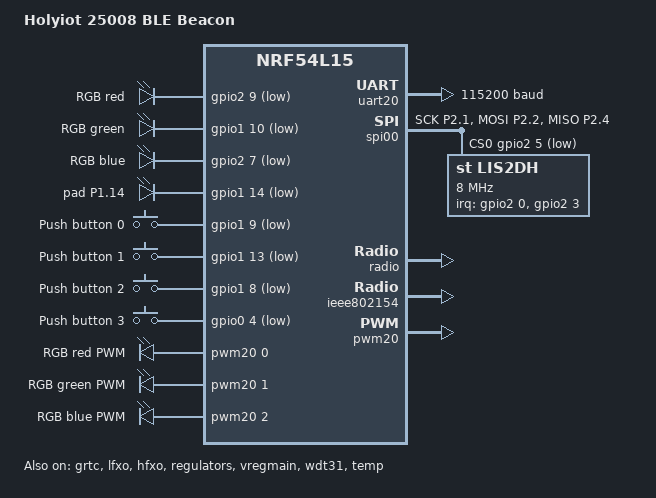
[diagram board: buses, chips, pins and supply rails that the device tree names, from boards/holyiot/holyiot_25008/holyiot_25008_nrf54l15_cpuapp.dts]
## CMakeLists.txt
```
#
# Copyright (c) 2021 Nordic Semiconductor ASA
#
# SPDX-License-Identifier: LicenseRef-Nordic-5-Clause
#

cmake_minimum_required(VERSION 3.20.0)

find_package(Zephyr HINTS $ENV{ZEPHYR_BASE})

project(matter-light-switch)

# Enable GNU STD support and initialize the Matter Data Model.
include(${ZEPHYR_CONNECTEDHOMEIP_MODULE_DIR}/config/nrfconnect/app/enable-gnu-std.cmake)
include(${ZEPHYR_CONNECTEDHOMEIP_MODULE_DIR}/src/app/chip_data_model.cmake)

# NORDIC SDK APP START

# Include all source files that are located in the Matter common directory.
include(${ZEPHYR_NRF_MODULE_DIR}/samples/matter/common/cmake/source_common.cmake)

target_include_directories(app PRIVATE
    src
    ${CONFIG_NCS_SAMPLE_MATTER_ZAP_FILES_PATH}

)

target_compile_options(app PRIVATE -Wno-deprecated-declarations)

target_sources(app PRIVATE
    src/app_task.cpp
    src/main.cpp
    # SmartHome: light_ctrl.cpp replaces both light_switch.cpp AND
    # binding_handler.cpp from the sample (it registers its own handlers on
    # BindingManager).
    src/light_ctrl.cpp
    src/automation.cpp
    src/status_led.cpp
    src/lock_cluster.cpp
    src/lock_state.cpp
    src/battery.cpp
    src/switch_cluster.cpp
    src/fault.cpp
)

chip_configure_data_model(app
    INCLUDE_SERVER
    BYPASS_IDL
    GEN_DIR ${CONFIG_NCS_SAMPLE_MATTER_ZAP_FILES_PATH}/zap-generated
    ZAP_FILE ${CMAKE_CURRENT_SOURCE_DIR}/${CONFIG_NCS_SAMPLE_MATTER_ZAP_FILES_PATH}/light_switch.zap
)
# NORDIC SDK APP END
```

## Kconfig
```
#
# Copyright (c) 2022 Nordic Semiconductor
#
# SPDX-License-Identifier: LicenseRef-Nordic-5-Clause
#
mainmenu "Matter nRF Connect Light Switch Example Application"

config STATE_LEDS
	bool "Use LEDs to indicate the device state"
	default y
	help
	  Use LEDs to render the current state of the device such as the progress of commissioning of
	  the device into a network or the factory reset initiation. Note that setting this option to
	  'n' does not disable the LED indicating the state of the simulated bolt.

# Sample configuration used for Thread networking
if NET_L2_OPENTHREAD

choice OPENTHREAD_NORDIC_LIBRARY_CONFIGURATION
	default OPENTHREAD_NORDIC_LIBRARY_MTD
endchoice

choice OPENTHREAD_DEVICE_TYPE
	default OPENTHREAD_MTD
endchoice

config CHIP_ENABLE_ICD_SUPPORT
	default y

# Reduce Thread TX output power to 0 dBm for SED device
config OPENTHREAD_DEFAULT_TX_POWER
	int
	default 0

endif # NET_L2_OPENTHREAD

if CHIP_WIFI

config NRF_WIFI_LOW_POWER
	default y

endif # CHIP_WIFI

# Enable Read Client functionality for all build configurations.
config CHIP_ENABLE_READ_CLIENT
	default y

# ---------------- SmartHome ----------------

config SMARTHOME_LOG_LEVEL
	int "Log level for the application modules"
	default 3

config SMARTHOME_SNTP_SERVER
	string "SNTP server"
	depends on SMARTHOME_SNTP
	default "pool.ntp.org"
	help
	  The name only resolves if the Border Router provides DNS64/NAT64.
	  Otherwise use an IPv6 literal.

config SMARTHOME_SNTP_TIMEOUT_MS
	int "SNTP timeout (ms)"
	depends on SMARTHOME_SNTP
	default 4000

config SMARTHOME_SNTP_RESYNC_HOURS
	int "SNTP resync interval (hours)"
	depends on SMARTHOME_SNTP
	default 6

config SMARTHOME_STARTUP_ONOFF
	int "StartUpOnOff written to the bulb"
	default 0
	range 0 255
	help
	  0 = stays OFF after a power outage (what is set here)
	  1 = turns on after a power outage
	  2 = toggle relative to the previous state
	  255 = null, the bulb returns to its state from before the outage

	  Apple Home does not expose this attribute in its interface. The
	  firmware writes it into the bulb and reasserts it daily, so the setting
	  holds regardless of what the ecosystem does.

config SMARTHOME_STARTUP_LEVEL
	int "StartUpCurrentLevel written to the bulb"
	default 255
	# Irrelevant while STARTUP_ONOFF=0 (the bulb stays off), but still
	# correct if you ever change it to 1.
	range 0 255
	help
	  0 = MinLevel, 1..254 = that value,
	  255 = return to the brightness from before the outage (recommended)

config SMARTHOME_STARTUP_REFRESH_HOURS
	int "How often the startup state is reasserted in the bulb (hours)"
	default 24

source "${ZEPHYR_CONNECTEDHOMEIP_MODULE_DIR}/config/nrfconnect/chip-module/Kconfig.features"
source "${ZEPHYR_CONNECTEDHOMEIP_MODULE_DIR}/config/nrfconnect/chip-module/Kconfig.defaults"
source "${ZEPHYR_NRF_MODULE_DIR}/samples/matter/common/src/Kconfig"
source "Kconfig.zephyr"

menu "RGB status LED"

config SMARTHOME_LED_TRIM_R
	int "Red channel attenuation (0-255, 255 = none)"
	range 0 255
	default 255
	help
	  Color balance for the RGB LED. The three dies in the package are not
	  equally efficient at the same current, and the resistors on the module
	  were chosen so the LED is visible, not to produce neutral white.
	  Without trim, what you ask for as #ffa726 can come out yellow or
	  reddish.

	  Calibrated by eye: hold the module next to the screen with Identify
	  running from the panel and pull down whichever channel dominates. Only
	  two of the three should ever be touched - the third stays at 255,
	  otherwise you are just throwing brightness away.

config SMARTHOME_ACCEL_GESTURES
	bool "Accelerometer gestures (tap / double tap)"
	default n
	help
	  The gesture code. Off by default: we do not use it, and an
	  accelerometer listening for taps has to stay powered up, which on
	  battery costs far more than it is worth.

	  With this off, the sensor is started by the driver at initialization
	  and explicitly powered down immediately afterwards.

config SMARTHOME_LED_CHANNEL_TEST
	bool "LED channel identification test"
	default n
	help
	  Lights ONE PWM channel at a time, two seconds each, forever: channel 0,
	  then 1, then 2. You look at the board and note which color you see at
	  each step.

	  It is how you find the REAL pin-to-color mapping when what you see does
	  not match the documentation. No guessing and no reflashing three times -
	  one run gives all three answers.

	  Do NOT leave it on in production.

config SMARTHOME_LED_TRIM_G
	int "Green channel attenuation (0-255)"
	range 0 255
	default 255

config SMARTHOME_LED_TRIM_B
	int "Blue channel attenuation (0-255)"
	range 0 255
	default 255

endmenu
```

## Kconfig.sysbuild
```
#
# Copyright (c) 2023 Nordic Semiconductor ASA
#
# SPDX-License-Identifier: LicenseRef-Nordic-5-Clause
#

config WIFI_NRF70
	default y if BOARD_NRF7002DK

#### Radio core selection
config NRF_DEFAULT_IPC_RADIO
	default y

# Enable IEEE802.15.4 serialization to network core
# This config automatically pulls in the `overlay-802154.conf` in the ipc_radio image
config NETCORE_IPC_RADIO_IEEE802154
	default y if SOC_SERIES_NRF53X && !WIFI_NRF70

# Enable Bluetooth serialization to network core
# This config automatically pulls in the `overlay-bt_hci_ipc.conf` in the ipc_radio image
config NETCORE_IPC_RADIO_BT_HCI_IPC
	default y if SOC_SERIES_NRF53X

#### Bootloader
# MCUboot is required for OTA (two image slots). On Holyiot both slots live in
# internal RRAM - the modules have no external flash.
choice BOOTLOADER
	default BOOTLOADER_MCUBOOT if !BOARD_NRF21540DK
endchoice

if BOOTLOADER_MCUBOOT

#### DFU multi-image support
config DFU_MULTI_IMAGE_PACKAGE_BUILD
	default y

config DFU_MULTI_IMAGE_PACKAGE_APP
	default y

# Secondary slot in external flash - only on boards that actually have one.
# The Holyiot module does not: both slots live in internal RRAM.
config PM_EXTERNAL_FLASH_MCUBOOT_SECONDARY
	default y if !BOARD_HOLYIOT_25008

#### DFU network core configuration
if SOC_SERIES_NRF53X

config MCUBOOT_UPDATEABLE_IMAGES
	default 2

choice MCUBOOT_MODE
	default MCUBOOT_MODE_OVERWRITE_ONLY
endchoice

choice BOOT_SIGNATURE_TYPE
	default BOOT_SIGNATURE_TYPE_RSA
endchoice

config SECURE_BOOT_NETCORE
	default y

config NETCORE_APP_UPDATE
	default y

config DFU_MULTI_IMAGE_PACKAGE_NET
	default y

endif # SOC_SERIES_NRF53X

if BOARD_NRF54L15DK_NRF54L15_CPUAPP_NS

# Disable checking the external drivers for NS build.
config PM_OVERRIDE_EXTERNAL_DRIVER_CHECK
	default y

# override the mcuboot pad size, because it is not set globally for NS build.
config PM_MCUBOOT_PAD
	default 0x800

endif # BOARD_NRF54L15DK_NRF54L15_CPUAPP_NS

endif # BOOTLOADER_MCUBOOT

#### Matter OTA
# SB_CONFIG_MATTER_OTA is FORCED onto the application image
# (nrf/sysbuild/CMakeLists.txt: set_config_bool CONFIG_CHIP_OTA_REQUESTOR), so
# CONFIG_CHIP_OTA_REQUESTOR in boards/*.conf is ignored - it is controlled from
# here. The default is already y; we leave it that way on every board.

#### Enable generating factory data
# Stays off on Holyiot: without a factory_data partition in the partition
# manager, the generator script gets an empty --offset and the build fails. The
# device then uses the test credentials compiled into the firmware.
config MATTER_FACTORY_DATA_GENERATE
	default y if !BOARD_NRF21540DK && !BOARD_HOLYIOT_25008

source "share/sysbuild/Kconfig"
```

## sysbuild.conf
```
#
# Copyright (c) 2024 Nordic Semiconductor
#
# SPDX-License-Identifier: LicenseRef-Nordic-5-Clause
#

SB_CONFIG_MATTER=y

# The MCUboot signing key is passed from scripts/build.sh as an ABSOLUTE path
# (-DSB_CONFIG_BOOT_SIGNATURE_KEY_FILE). A relative path here would resolve
# against bootloader/mcuboot, not against the application.
```

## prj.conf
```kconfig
#
# Copyright (c) 2021 Nordic Semiconductor ASA
#
# SPDX-License-Identifier: LicenseRef-Nordic-5-Clause
#

# Enable CHIP
CONFIG_CHIP=y
CONFIG_CHIP_PROJECT_CONFIG="src/chip_project_config.h"
# 32772 == 0x8004 (example light-switch-app)
CONFIG_CHIP_DEVICE_PRODUCT_ID=32772
CONFIG_STD_CPP17=y

# Enable Matter pairing automatically on application start.
CONFIG_CHIP_ENABLE_PAIRING_AUTOSTART=y

# Enable Matter extended announcement and increase duration to 1 hour.
CONFIG_CHIP_BLE_EXT_ADVERTISING=y
CONFIG_CHIP_BLE_ADVERTISING_DURATION=60

# Add support for LEDs and buttons on Nordic development kits
CONFIG_DK_LIBRARY=y

# We drive the RGB LED ourselves, with PWM (src/status_led.cpp).
CONFIG_PWM=y

# The ADC, for reading the coin cell through the chip's own AVDD input. The
# devicetree node alone is not enough - without this the driver is never built
# and the link fails on adc_gain_invert. See the &adc block in boards/*.overlay.

# The common LED module from NCS is off: it drives the LEDs as GPIO on/off for
# network state, and would fight our PWM over the same pins. We signal state
# through color, not through which-of-four-LEDs.
CONFIG_NCS_SAMPLE_MATTER_LEDS=n

# Bluetooth Low Energy configuration
CONFIG_BT_DEVICE_NAME="MatterSwitch"

# Suspend devices when the CPU goes into sleep
CONFIG_PM_DEVICE=y

# Other settings
CONFIG_THREAD_NAME=y
CONFIG_MPU_STACK_GUARD=y
# Reboot instead of freezing. The module has no console in this build
# (CONFIG_SERIAL is off so two OTA slots fit), and Zephyr's default handler
# masks interrupts and drops into for(;;) - i.e. the board dies silently, the
# LED frozen on the last color written, unresponsive to everything until you
# pull the battery. That is exactly how the dangling reference in
# light_ctrl.cpp presented. A silent fault on a device with no console is the
# worst possible way to fail.
#
# The reset is src/fault.cpp's now: it writes down the reason and the address
# first, for the next boot to publish. NCS's handler (this option) would clash
# with it, so it is off, and REBOOT is asked for directly.
CONFIG_RESET_ON_FATAL_ERROR=n
CONFIG_REBOOT=y
CONFIG_CHIP_LIB_SHELL=n
CONFIG_NCS_SAMPLE_MATTER_TEST_SHELL=n

# Reduce application size
CONFIG_USE_SEGGER_RTT=n

# Enable Factory Data feature
CONFIG_CHIP_FACTORY_DATA=y
CONFIG_CHIP_FACTORY_DATA_BUILD=y

# ---------------- SmartHome ----------------
# The name that appears while commissioning over Bluetooth. Overrides the
# sample's value above.
#
# FOURTEEN CHARACTERS, maximum. hci_core.c asserts
# DEVICE_NAME_LEN < CONFIG_BT_DEVICE_NAME_MAX, and that ceiling is 15 here - so
# a 15-character name fails the build, deep inside Zephyr's Bluetooth host,
# with `static assertion failed: ""` and no mention of this line.
CONFIG_BT_DEVICE_NAME="SmartSwitch"

# Accelerometer: the concrete driver is enabled in boards/<board>.conf, because
# CONFIG_LIS2DH depends on DT_HAS_ST_LIS2DH_ENABLED. On nrf54l15dk there is no
# sensor, so the gestures compile out (see HAS_ACCEL in automation.cpp).
CONFIG_SENSOR=y

# Time synchronization. Off by default: on battery it costs wakeups. Enable with
# -DCONFIG_SMARTHOME_SNTP=y if the Border Router has internet access.
# CONFIG_SMARTHOME_SNTP=y

# How many switches a lock can actually reach in one press.
#
# The binding table holds 10 entries, so a lock may be pointed at nine other
# switches - and until now the device could hold four CASE connections and
# negotiate two at a time. That would be a soft limit if the SDK degraded, and
# it does not: BindingManager's notification loop is
#
#     error = EstablishConnection(...);
#     SuccessOrExit(error);
#
# so the FIRST target that does not fit ends the loop, and every binding after
# it is silently skipped. A lock over nine switches locked the first few and
# left the rest untouched, with no error anywhere to say so.
#
# Ten, to match the binding table: a lock cannot be pointed at more than the
# table holds, so nothing is left that the device could be asked to reach and
# could not. Four negotiations at a time, because they are the expensive part
# and they only need to keep the pipeline full, not to run all at once.
CONFIG_CHIP_MAX_ACTIVE_DEVICES=10
CONFIG_CHIP_MAX_ACTIVE_CASE_CLIENTS=4
```

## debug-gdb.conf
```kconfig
# Variant for debugging with gdb.
#
# The production build has LTO on so the image fits into the 710K slot together
# with a second slot for OTA. The side effect: LTO dissolves function
# boundaries, and gdb can no longer put a breakpoint on AppTask::Init or
# LightCtrl::Init - "info functions" does not find them at all.
#
# Usage:
#     ./scripts/build.sh holyiot_25008 -DEXTRA_CONF_FILE=debug-gdb.conf
# Do NOT put this on a production board: the image grows and busts the OTA
# budget.
CONFIG_LTO=n
CONFIG_DEBUG_THREAD_INFO=y
```

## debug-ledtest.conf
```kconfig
# LED channel identification. See CONFIG_SMARTHOME_LED_CHANNEL_TEST in Kconfig.
CONFIG_SMARTHOME_LED_CHANNEL_TEST=y
```

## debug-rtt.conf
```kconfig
# Debug console over SWD, through RTT.
#
# The module has no USB, and UART would need two extra wires on 1.5 mm pads.
# RTT runs over the SWD link that already exists for flashing: zero wires.
#
# NOT part of the production build. Two things to know before using it, both
# learned by bricking a switch with it:
#
# 1. THIS PROFILE DOES NOT CURRENTLY FIT, AND WE DO NOT KNOW THE EXACT CEILING.
#    Measured on holyiot_25008, same signing key throughout:
#
#        642076 B  no RTT              boots
#        714880 B  RTT + battery       MCUboot rejects it
#        720048 B  RTT, no battery     MCUboot rejects it
#        722288 B  RTT + battery       MCUboot rejects it
#
#    Rejected means `FIH_PANIC` in main.c:611 - no bootable image - with the PC
#    frozen around 0x5230 and a switch that does nothing until it is reflashed.
#    imgtool passes all of these: it checks `image + trailer <= slot` against a
#    fixed 6224-byte trailer. MCUboot's own swap status area is not fixed - it
#    grows with the sector count, and this slot is 177 sectors - which is the
#    likely reason, though it has not been proven.
#
#    So the real ceiling is somewhere between 642 KB and 714 KB. Until somebody
#    measures it, treat anything much above 642 KB as unproven, and check what
#    you built before flashing it:
#       ls -l build-*/firmware/zephyr/zephyr.signed.bin
#
# 2. USE A SEPARATE BUILD DIRECTORY. EXTRA_CONF_FILE lands in the CMake cache
#    and every later build in that directory inherits it silently - including
#    the one you build to undo it. An image that should have been 87% came out
#    at 98.7% and would not boot either. `rm -rf` the build directory, or use
#    -d for a directory of its own.
#
#     ./scripts/build.sh holyiot_25008 -DEXTRA_CONF_FILE=debug-rtt.conf
# and read with, giving the address from the ELF because the default search
# range does not find it on this part:
#     nm build-*/firmware/zephyr/zephyr.elf | grep _SEGGER_RTT
#     pyocd rtt -t nrf54l -a 0x20000040 -s 0x100
CONFIG_USE_SEGGER_RTT=y
CONFIG_RTT_CONSOLE=y
CONFIG_CONSOLE=y
CONFIG_SEGGER_RTT_BUFFER_SIZE_UP=4096

CONFIG_LOG=y
CONFIG_LOG_BACKEND_RTT=y
# Minimal, not deferred: deferred logging carries a whole processing thread and
# its buffers, and this profile has to fit in what the application leaves of a
# 710 KB slot. Minimal goes straight out through printk, which is all a crash
# investigation needs.
CONFIG_LOG_MODE_MINIMAL=y

# What we care about is application and Matter stack startup, not all the noise.
CONFIG_SMARTHOME_LOG_LEVEL=4
CONFIG_MATTER_LOG_LEVEL_INF=y
CONFIG_CHIP_APP_LOG_LEVEL=4
```

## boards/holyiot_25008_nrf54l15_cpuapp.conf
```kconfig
# Configuration specific to the Holyiot 25008 module (nRF54L15 + LIS2DH).
#
# The accelerometer driver is enabled here, not in prj.conf: CONFIG_LIS2DH
# depends on DT_HAS_ST_LIS2DH_ENABLED, and the node exists only on the boards
# that actually carry the sensor. See HAS_ACCEL in src/automation.cpp.

# SPI stays on so the CS lines are held inactive; the sensor is powered down
# from the overlay. See the comment there.
CONFIG_SPI=y
# CONFIG_LIS2DH=y
# CONFIG_LIS2DH_TRIGGER_GLOBAL_THREAD=y

# Multirole is the only role SoftDevice supports on nRF54L.
CONFIG_BT_LL_SOFTDEVICE_MULTIROLE=y

# On nRF54L15 settings go to ZMS, not NVS.
CONFIG_ZMS_LOOKUP_CACHE=y
CONFIG_ZMS_LOOKUP_CACHE_SIZE=512
CONFIG_ZMS_LOOKUP_CACHE_FOR_SETTINGS=y
CONFIG_NVS=n

CONFIG_POWEROFF=y

# Factory data off on the Holyiot module (MCUboot is now ON, for OTA).
#
# The module has no pm_static with a factory_data partition, and without OTA
# there is no point in a bootloader that eats 64K of RRAM. The reference project
# uAmpHome/micro_matter_button does the same.
#
# CONSEQUENCE: the device uses the test Matter credentials compiled into the
# firmware (VID 0xFFF1 / PID 0x8004), not per-unit ones. Acceptable for a DIY
# device in your own fabric, but NOT for distribution.
CONFIG_CHIP_FACTORY_DATA=n
CONFIG_CHIP_FACTORY_DATA_BUILD=n

# ---------------- OTA ----------------
# Two image slots have to fit into 1524 KB of RRAM. The image with logging is
# 766 KB and does NOT fit; with the optimizations below it drops to ~610 KB.
#
# Logging can go without losing anything: the module has no console in
# devicetree (neither UART nor RTT enabled), so the logs went nowhere anyway.
# For debugging use the nrf54l15dk, which does have a console.
CONFIG_LTO=y
CONFIG_ISR_TABLES_LOCAL_DECLARATION=y
CONFIG_LOG=n
CONFIG_PRINTK=n
CONFIG_PRINTK_SYNC=n
# NCS replaces BOOT_BANNER with NCS_BOOT_BANNER, and that is the one doing
# 'select PRINTK'. Set on the wrong symbol, printk stayed compiled in.
CONFIG_BOOT_BANNER=n
CONFIG_NCS_BOOT_BANNER=n
CONFIG_ASSERT=n

# ---------------- Idle power ----------------
# The module is a Sleepy End Device: it polls its Thread parent periodically,
# and that poll IS the keep-alive that holds the attachment. It happens whether
# or not you press the button, so the device never detaches "from inactivity".
#
# The Matter default for SIT is 1000 ms - chosen conservatively for devices that
# have to RECEIVE commands quickly (locks, valves). For a switch, which almost
# only sends, that is waste: ~2.4 million wakeups a month.
#
# 15000 is the maximum the spec allows for the SIT class (9.16.1.5; see also
# CHIP_ICD_SIT_SLOW_POLL_LIMIT, whose range is 0..15000). Fifteen times fewer
# wakeups, and anything inbound - AnnounceOTAProvider included - is delayed by
# at most 15 s.
#
# It stays below OPENTHREAD_MLE_CHILD_TIMEOUT (240 s), so OpenThread does not
# clamp it: the effective poll is min(requested, child_timeout - margin).
#
# For even lower power, move to the LIT class (snippets/lit_icd, 5 min poll) -
# but then the child timeout has to be raised above 300 s as well.
CONFIG_CHIP_ICD_SLOW_POLL_INTERVAL=3000

# The console on UART20 (P1.04/P1.05) exists in devicetree, but we keep it OFF.
# With it and logging enabled, the image no longer fits into two OTA slots. For
# a debug build, set these to y and run two wires out.
CONFIG_SERIAL=n
CONFIG_CONSOLE=n
CONFIG_UART_CONSOLE=n
```

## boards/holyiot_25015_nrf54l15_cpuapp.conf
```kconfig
# Configuration specific to the Holyiot 25015 module (nRF54L15 + LIS2DH + SHT40).
#
# The accelerometer driver is enabled here, not in prj.conf: CONFIG_LIS2DH
# depends on DT_HAS_ST_LIS2DH_ENABLED, and the node exists only on the boards
# that actually carry the sensor. See HAS_ACCEL in src/automation.cpp.

# SPI stays on so the CS lines are held inactive; the sensor is powered down
# from the overlay. See the comment there.
CONFIG_SPI=y
# CONFIG_LIS2DH=y
# CONFIG_LIS2DH_TRIGGER_GLOBAL_THREAD=y

# Multirole is the only role SoftDevice supports on nRF54L.
CONFIG_BT_LL_SOFTDEVICE_MULTIROLE=y

# On nRF54L15 settings go to ZMS, not NVS.
CONFIG_ZMS_LOOKUP_CACHE=y
CONFIG_ZMS_LOOKUP_CACHE_SIZE=512
CONFIG_ZMS_LOOKUP_CACHE_FOR_SETTINGS=y
CONFIG_NVS=n

CONFIG_POWEROFF=y

# Factory data off on the Holyiot module (MCUboot is now ON, for OTA).
#
# The module has no pm_static with a factory_data partition, and without OTA
# there is no point in a bootloader that eats 64K of RRAM. The reference project
# uAmpHome/micro_matter_button does the same.
#
# CONSEQUENCE: the device uses the test Matter credentials compiled into the
# firmware (VID 0xFFF1 / PID 0x8004), not per-unit ones. Acceptable for a DIY
# device in your own fabric, but NOT for distribution.
CONFIG_CHIP_FACTORY_DATA=n
CONFIG_CHIP_FACTORY_DATA_BUILD=n

# ---------------- OTA ----------------
# Two image slots have to fit into 1524 KB of RRAM. The image with logging is
# 766 KB and does NOT fit; with the optimizations below it drops to ~610 KB.
#
# Logging can go without losing anything: the module has no console in
# devicetree (neither UART nor RTT enabled), so the logs went nowhere anyway.
# For debugging use the nrf54l15dk, which does have a console.
CONFIG_LTO=y
CONFIG_ISR_TABLES_LOCAL_DECLARATION=y
CONFIG_LOG=n
CONFIG_PRINTK=n
CONFIG_PRINTK_SYNC=n
# NCS replaces BOOT_BANNER with NCS_BOOT_BANNER, and that is the one doing
# 'select PRINTK'. Set on the wrong symbol, printk stayed compiled in.
CONFIG_BOOT_BANNER=n
CONFIG_NCS_BOOT_BANNER=n
CONFIG_ASSERT=n

# ---------------- Idle power ----------------
# The module is a Sleepy End Device: it polls its Thread parent periodically,
# and that poll IS the keep-alive that holds the attachment. It happens whether
# or not you press the button, so the device never detaches "from inactivity".
#
# The Matter default for SIT is 1000 ms - chosen conservatively for devices that
# have to RECEIVE commands quickly (locks, valves). For a switch, which almost
# only sends, that is waste: ~2.4 million wakeups a month.
#
# 15000 is the maximum the spec allows for the SIT class (9.16.1.5; see also
# CHIP_ICD_SIT_SLOW_POLL_LIMIT, whose range is 0..15000). Fifteen times fewer
# wakeups, and anything inbound - AnnounceOTAProvider included - is delayed by
# at most 15 s.
#
# It stays below OPENTHREAD_MLE_CHILD_TIMEOUT (240 s), so OpenThread does not
# clamp it: the effective poll is min(requested, child_timeout - margin).
#
# For even lower power, move to the LIT class (snippets/lit_icd, 5 min poll) -
# but then the child timeout has to be raised above 300 s as well.
CONFIG_CHIP_ICD_SLOW_POLL_INTERVAL=15000

# The SHT40 temperature/humidity sensor is enabled by the board's _defconfig
# (inherited from the reference repo, which reported it to the smart home). We
# do not use it, so we turn it off - same reasoning as for the accelerometer.
CONFIG_SHT4X=n

# The console on UART20 (P1.04/P1.05) exists in devicetree, but we keep it OFF.
# With it and logging enabled, the image no longer fits into two OTA slots. For
# a debug build, set these to y and run two wires out.
CONFIG_SERIAL=n
CONFIG_CONSOLE=n
CONFIG_UART_CONSOLE=n
```

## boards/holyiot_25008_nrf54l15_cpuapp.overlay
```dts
/*
 * We reclaim the memory reserved by default for the FLPR coprocessor.
 *
 * nrf54l15.dtsi splits the SoC: 188KB SRAM + 1428KB RRAM for cpuapp, the rest
 * (68KB SRAM + 96KB RRAM) for cpuflpr. We run nothing on the FLPR, so we take
 * all of it. The sample's own overlay for nrf54l15dk does the same ("restore
 * full RRAM and SRAM space").
 *
 * Gain: RAM 188 -> 256KB, RRAM 1428 -> 1524KB.
 *
 * NOTE: if you ever put code on the FLPR (cpuflpr / cpuflpr_xip), delete this
 * file - otherwise the two cores will trample each other's memory.
 */
&cpuapp_sram {
	reg = <0x20000000 DT_SIZE_K(256)>;
	ranges = <0x0 0x20000000 0x40000>;
};

&cpuapp_rram {
	reg = <0x0 DT_SIZE_K(1524)>;
};

/*
 * The accelerometer stays ENABLED in devicetree, deliberately, so that it can be
 * powered down EXPLICITLY.
 *
 * The first version disabled it in devicetree: the driver was not built, nobody
 * talked to the chip, and we relied on the LIS2DH powering up in power-down
 * mode. That is what the datasheet says, but we had never read a register off
 * this board - so it was an assumption, not a measurement.
 *
 * With the driver built, lis2dh_init() really does WRITE the ODR at
 * initialization (zephyr/drivers/sensor/st/lis2dh/lis2dh.c:431), i.e. it starts
 * the sensor. We power it down immediately afterwards, from src/automation.cpp.
 * The cost is a few milliseconds of the sensor being on at every boot; the gain
 * is certainty that it stays off, no matter which chip is actually fitted and
 * what its power-on defaults are.
 *
 * The gestures remain compiled out - see CONFIG_SMARTHOME_ACCEL_GESTURES.
 */
```

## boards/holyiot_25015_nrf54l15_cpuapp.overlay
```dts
/*
 * We reclaim the memory reserved by default for the FLPR coprocessor.
 *
 * nrf54l15.dtsi splits the SoC: 188KB SRAM + 1428KB RRAM for cpuapp, the rest
 * (68KB SRAM + 96KB RRAM) for cpuflpr. We run nothing on the FLPR, so we take
 * all of it. The sample's own overlay for nrf54l15dk does the same ("restore
 * full RRAM and SRAM space").
 *
 * Gain: RAM 188 -> 256KB, RRAM 1428 -> 1524KB.
 *
 * NOTE: if you ever put code on the FLPR (cpuflpr / cpuflpr_xip), delete this
 * file - otherwise the two cores will trample each other's memory.
 */
&cpuapp_sram {
	reg = <0x20000000 DT_SIZE_K(256)>;
	ranges = <0x0 0x20000000 0x40000>;
};

&cpuapp_rram {
	reg = <0x0 DT_SIZE_K(1524)>;
};

/*
 * The accelerometer stays ENABLED in devicetree, deliberately, so that it can be
 * powered down EXPLICITLY.
 *
 * The first version disabled it in devicetree: the driver was not built, nobody
 * talked to the chip, and we relied on the LIS2DH powering up in power-down
 * mode. That is what the datasheet says, but we had never read a register off
 * this board - so it was an assumption, not a measurement.
 *
 * With the driver built, lis2dh_init() really does WRITE the ODR at
 * initialization (zephyr/drivers/sensor/st/lis2dh/lis2dh.c:431), i.e. it starts
 * the sensor. We power it down immediately afterwards, from src/automation.cpp.
 * The cost is a few milliseconds of the sensor being on at every boot; the gain
 * is certainty that it stays off, no matter which chip is actually fitted and
 * what its power-on defaults are.
 *
 * The gestures remain compiled out - see CONFIG_SMARTHOME_ACCEL_GESTURES.
 */
```

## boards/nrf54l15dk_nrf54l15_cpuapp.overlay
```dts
#include <zephyr/dt-bindings/adc/adc.h>
#include <zephyr/dt-bindings/adc/nrf-saadc-nrf54l.h>

/*
 * Copyright (c) 2024 Nordic Semiconductor ASA
 *
 * SPDX-License-Identifier: LicenseRef-Nordic-5-Clause
 */

/ {
	aliases {
		// Use watchdog wdt31 as the application watchdog
		watchdog0 = &wdt31;
	};

	chosen {
		nordic,pm-ext-flash = &mx25r64;
	};
};

// restore full RRAM and SRAM space - by default some parts are dedicated to FLRP
&cpuapp_rram {
	reg = <0x0 DT_SIZE_K(1524)>;
};

&cpuapp_sram {
	reg = <0x20000000 DT_SIZE_K(256)>;
	ranges = <0x0 0x20000000  0x40000>;
};

// TODO: re-enable HWFC once it's fixed
&uart20 {
	/delete-property/ hw-flow-control;
};

&mx25r64 {
	status = "okay";
};

&wdt31 {
	status = "okay";
};

/*
 * Reading the cell, with nothing added to the board.
 *
 * The nRF54L's ADC can measure its own analogue supply - NRF_SAADC_AVDD - so
 * the cell is read through the chip instead of through a resistor divider
 * soldered across it. That is what makes this worth doing at all: the switches
 * are already built and sealed, and a divider would draw current for ever,
 * which on a coin cell is the one expense you cannot amortise.
 *
 * Gain 1/4 against the 900 mV internal reference puts full scale at 3.6 V. A
 * fresh CR2032 sits at 3.0-3.3 V, so it fits with headroom and still spends
 * most of the range on the part of the curve that matters.
 */
&adc {
	status = "okay";
	#address-cells = <1>;
	#size-cells = <0>;

	channel@0 {
		reg = <0>;
		zephyr,gain = "ADC_GAIN_1_4";
		zephyr,reference = "ADC_REF_INTERNAL";
		zephyr,acquisition-time = <ADC_ACQ_TIME(ADC_ACQ_TIME_MICROSECONDS, 10)>;
		zephyr,input-positive = <NRF_SAADC_AVDD>;
		zephyr,resolution = <12>;
	};
};

/ {
	zephyr,user {
		io-channels = <&adc 0>;
	};
};
```

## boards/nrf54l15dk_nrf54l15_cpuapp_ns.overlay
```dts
#include <zephyr/dt-bindings/adc/adc.h>
#include <zephyr/dt-bindings/adc/nrf-saadc-nrf54l.h>

/*
 * Copyright (c) 2024 Nordic Semiconductor ASA
 *
 * SPDX-License-Identifier: LicenseRef-Nordic-5-Clause
 */

/ {
	aliases {
		// Use watchdog wdt31 as the application watchdog
		watchdog0 = &wdt31;
	};

	chosen {
		nordic,pm-ext-flash = &mx25r64;
	};
};

// restore full RRAM and SRAM space - by default some parts are dedicated to FLRP
&cpuapp_rram {
	reg = <0x0 DT_SIZE_K(1524)>;
};

&cpuapp_sram {
	reg = <0x20000000 DT_SIZE_K(256)>;
	ranges = <0x0 0x20000000  0x40000>;
};

// TODO: re-enable HWFC once it's fixed
&uart20 {
	/delete-property/ hw-flow-control;
};

&mx25r64 {
	status = "okay";
};

&wdt31 {
	status = "okay";
};

// Change IRQ ids to handle button interrupts.

// The default values for nRF54L15 are 219 and 269,
// but with TF-M they are reserved for the secure domain
// (218 and 268 are reserved for the non-secure domain).
&gpiote20 {
	interrupts = <218 NRF_DEFAULT_IRQ_PRIORITY>;
};

&gpiote30 {
	interrupts = <268 NRF_DEFAULT_IRQ_PRIORITY>;
};

/*
 * Reading the cell, with nothing added to the board.
 *
 * The nRF54L's ADC can measure its own analogue supply - NRF_SAADC_AVDD - so
 * the cell is read through the chip instead of through a resistor divider
 * soldered across it. That is what makes this worth doing at all: the switches
 * are already built and sealed, and a divider would draw current for ever,
 * which on a coin cell is the one expense you cannot amortise.
 *
 * Gain 1/4 against the 900 mV internal reference puts full scale at 3.6 V. A
 * fresh CR2032 sits at 3.0-3.3 V, so it fits with headroom and still spends
 * most of the range on the part of the curve that matters.
 */
&adc {
	status = "okay";
	#address-cells = <1>;
	#size-cells = <0>;

	channel@0 {
		reg = <0>;
		zephyr,gain = "ADC_GAIN_1_4";
		zephyr,reference = "ADC_REF_INTERNAL";
		zephyr,acquisition-time = <ADC_ACQ_TIME(ADC_ACQ_TIME_MICROSECONDS, 10)>;
		zephyr,input-positive = <NRF_SAADC_AVDD>;
		zephyr,resolution = <12>;
	};
};

/ {
	zephyr,user {
		io-channels = <&adc 0>;
	};
};
```

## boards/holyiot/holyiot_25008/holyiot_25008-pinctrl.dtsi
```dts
&pinctrl {
	/* UART on P1.04 (TX) / P1.05 (RX), as in the official board upstream in
	 * Zephyr. It was missing from the community definition we started from -
	 * which is why we believed the module had no console at all. */
	/omit-if-no-ref/ uart20_default: uart20_default {
		group1 {
			psels = <NRF_PSEL(UART_TX, 1, 4)>;
		};

		group2 {
			psels = <NRF_PSEL(UART_RX, 1, 5)>;
			bias-pull-up;
		};
	};

	/omit-if-no-ref/ uart20_sleep: uart20_sleep {
		group1 {
			psels = <NRF_PSEL(UART_TX, 1, 4)>,
				<NRF_PSEL(UART_RX, 1, 5)>;
			low-power-enable;
		};
	};


	/* PWM for the RGB LED.
	 *
	 * WARNING: on the module we have, only PWM_OUT1 (P1.10, green) actually
	 * lights anything. PWM_OUT0 and PWM_OUT2 light nothing at all.
	 *
	 * Measured, not inferred. With the LED engine's background effect written
	 * directly over SWD and read back to confirm it landed:
	 *     rgb(0,255,0) -> bright green
	 *     rgb(255,0,0) -> nothing
	 *     rgb(0,0,255) -> nothing
	 *
	 * The pin numbers below are what the Zephyr board documentation says, and
	 * they were once described here as "confirmed on the board" using
	 * CONFIG_SMARTHOME_LED_CHANNEL_TEST. That confirmation was worthless: the
	 * test lights one channel at a time and asks you which color you see, and
	 * because the same green LED lit up every time, the reported order was the
	 * order we expected rather than the order we observed. A test whose result
	 * you can guess in advance confirms nothing.
	 *
	 * The consequence is not cosmetic. Any color whose green component is
	 * small comes out nearly dark: rgb(255,32,8), which is a deep red-orange
	 * on paper, drives green at 32/255 and shows up as a barely visible glow.
	 * That is why the status LED communicates through brightness rather than
	 * color - see automation.cpp.
	 *
	 * Left as-is deliberately. The right fix is the real pin numbers for red
	 * and blue, from the module schematic; guessing them by driving GPIOs on a
	 * board carrying an accelerometer and an external flash is not worth the
	 * risk. Until then, do not trust the red/blue entries below.
	 *
	 * A single PWM block (pwm20) covers all three channels: nRF PWM has 4
	 * channels per instance sharing one period - exactly what RGB wants, where
	 * only the duty cycle differs between channels. */
	/omit-if-no-ref/ pwm20_default: pwm20_default {
		group1 {
			psels = <NRF_PSEL(PWM_OUT0, 2, 9)>,   /* red   */
				<NRF_PSEL(PWM_OUT1, 1, 10)>,  /* green */
				<NRF_PSEL(PWM_OUT2, 2, 7)>;   /* blue  */
			/*
			 * MANDATORY for active-low LEDs.
			 *
			 * Without it the pin idles LOW while PWM is stopped, so
			 * "off" actually means all three channels at full: a
			 * constant white LED that never changes.
			 *
			 * The driver has a shortcut for 0% duty - it stops the
			 * peripheral and parks the pin in GPIO - but on nRF54L
			 * the pad stays under PWM control, so the GPIO write
			 * never reaches it. Verified on the board: the OUT
			 * registers of P1 and P2 showed exactly the LED bits at
			 * 0.
			 *
			 * nordic,invert fixes it at the source: the PWM output
			 * idles HIGH, so the LED is off when nothing is driving
			 * it.
			 */
			nordic,invert;
		};
	};

	/omit-if-no-ref/ pwm20_sleep: pwm20_sleep {
		group1 {
			psels = <NRF_PSEL(PWM_OUT0, 2, 9)>,
				<NRF_PSEL(PWM_OUT1, 1, 10)>,
				<NRF_PSEL(PWM_OUT2, 2, 7)>;
			low-power-enable;
		};
	};
};
```

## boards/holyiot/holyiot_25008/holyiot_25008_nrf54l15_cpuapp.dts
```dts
/dts-v1/;
#include <nordic/nrf54l15_cpuapp.dtsi>
#include "holyiot_25008-pinctrl.dtsi"
#include <zephyr/dt-bindings/pwm/pwm.h>

/ {
	model = "Holyiot 25008 BLE Beacon";
	compatible = "holyiot,holyiot-25008-cpuapp";

	chosen {
		zephyr,code-partition = &slot0_partition;
		zephyr,sram = &cpuapp_sram;
		zephyr,flash = &cpuapp_rram;
		zephyr,flash-controller = &rram_controller;
		/* Required on NCS v3.0: openthread/platform/radio.c asks for it
		 * explicitly. On v3.2 (which the board was written against) it
		 * is implicit. */
		zephyr,ieee802154 = &ieee802154;
	};
};

/*
 * Console. The node is declared so it is available, but CONFIG_SERIAL and
 * CONFIG_CONSOLE are off in boards/holyiot_*.conf: with them on, two image
 * slots for OTA no longer fit. For a debug build, turn them back on and run two
 * wires off P1.04 / P1.05.
 */
&uart20 {
	current-speed = <115200>;
	pinctrl-0 = <&uart20_default>;
	pinctrl-1 = <&uart20_sleep>;
	pinctrl-names = "default", "sleep";
	status = "okay";
};

&grtc {
	owned-channels = <0 1 2 3 4 5 6 7 8 9 10 11>;
	/* Channels 7-11 reserved for Zero Latency IRQs, 3-4 for FLPR */
	child-owned-channels = <3 4 7 8 9 10 11>;
	status = "okay";
};

&cpuapp_sram {
	status = "okay";
};

/ {
	/*
	 * The module has ONE SINGLE RGB LED, one GPIO per color - it is NOT
	 * addressable (no WS2812), and there are not four separate LEDs, as the
	 * community definition we started from suggested.
	 *
	 * Confirmed by the official Zephyr documentation for holyiot_25008:
	 * P2.09 red, P1.10 green, P2.07 blue.
	 *
	 * All active LOW: drive the pin to 0 to light it.
	 * The node names led0..led2 stay, because DK_LED1..3 map onto them by
	 * order - Identify uses DK_LED2, i.e. led1 = green.
	 */
	leds {
		compatible = "gpio-leds";

		led0: led_0 {
			gpios = <&gpio2 9 GPIO_ACTIVE_LOW>;
			label = "RGB red";
		};

		led1: led_1 {
			gpios = <&gpio1 10 GPIO_ACTIVE_LOW>;
			label = "RGB green";
		};

		led2: led_2 {
			gpios = <&gpio2 7 GPIO_ACTIVE_LOW>;
			label = "RGB blue";
		};

		/* The fourth LED does not appear in the official documentation -
		 * most likely just a broken-out pad, unpopulated. Kept for
		 * compatibility. */
		led3: led_3 {
			gpios = <&gpio1 14 GPIO_ACTIVE_LOW>;
			label = "pad P1.14";
		};
	};

	buttons {
		compatible = "gpio-keys";

		button0: button_0 {
			gpios = <&gpio1 9 (GPIO_PULL_UP | GPIO_ACTIVE_LOW)>;
			label = "Push button 0";
			zephyr,code = <INPUT_KEY_0>;
		};

		button1: button_1 {
			gpios = <&gpio1 13 (GPIO_PULL_UP | GPIO_ACTIVE_LOW)>;
			label = "Push button 1";
			zephyr,code = <INPUT_KEY_1>;
		};

		button2: button_2 {
			gpios = <&gpio1 8 (GPIO_PULL_UP | GPIO_ACTIVE_LOW)>;
			label = "Push button 2";
			zephyr,code = <INPUT_KEY_2>;
		};

		button3: button_3 {
			gpios = <&gpio0 4 (GPIO_PULL_UP | GPIO_ACTIVE_LOW)>;
			label = "Push button 3";
			zephyr,code = <INPUT_KEY_3>;
		};
	};

	aliases {
		led0 = &led0;
		/* Readable names for the RGB LED. led0/1/2 stay, because
		 * DK_LED1..3 map onto them by order. */
		led-red = &led0;
		led-green = &led1;
		led-blue = &led2;
		led1 = &led1;
		led2 = &led2;
		led3 = &led3;
		sw0 = &button0;
		sw1 = &button1;
		sw2 = &button2;
		sw3 = &button3;
		watchdog0 = &wdt31;
	};
};

/{
    aliases {
        accel0 = &lis2dh;
    };
};

&pinctrl {
	/omit-if-no-ref/ spi00_default: spi00_default {
		group1 {
			psels = <NRF_PSEL(SPIM_SCK, 2, 1)>,
				<NRF_PSEL(SPIM_MOSI, 2, 2)>,
				<NRF_PSEL(SPIM_MISO, 2, 4)>;
		};
	};

	/omit-if-no-ref/ spi00_sleep: spi00_sleep {
		group1 {
			psels = <NRF_PSEL(SPIM_SCK, 2, 1)>,
				<NRF_PSEL(SPIM_MOSI, 2, 2)>,
				<NRF_PSEL(SPIM_MISO, 2, 4)>;
			low-power-enable;
		};
	};
};

&spi00 {
	status = "okay";
	cs-gpios = <&gpio2 5 GPIO_ACTIVE_LOW>;
	pinctrl-0 = <&spi00_default>;
	pinctrl-1 = <&spi00_sleep>;
	pinctrl-names = "default", "sleep";

	lis2dh: lis2dh@0 {
		compatible = "st,lis2dh", "st,lis2dh12";
		reg = <0>;
		spi-max-frequency = <8000000>;
		irq-gpios = <&gpio2 0 GPIO_ACTIVE_HIGH>, <&gpio2 3 GPIO_ACTIVE_HIGH>;
		status = "okay";
	};
};

&cpuapp_sram {
	status = "okay";
};

&lfxo {
	load-capacitors = "internal";
	load-capacitance-femtofarad = <16000>;
	status = "okay";
};

&hfxo {
	load-capacitors = "internal";
	load-capacitance-femtofarad = <15000>;
	status = "okay";
};

&regulators {
	status = "okay";
};

&vregmain {
	status = "okay";
	regulator-initial-mode = <NRF5X_REG_MODE_DCDC>;
};

&gpio0 {
	status = "okay";
};

&gpio1 {
	status = "okay";
};

&gpio2 {
	status = "okay";
};

&gpiote20 {
	status = "okay";
};

&gpiote30 {
	status = "okay";
};

&wdt31 {
	status = "okay";
};

&radio {
	status = "okay";
};

&ieee802154 {
	status = "okay";
};

&temp {
	status = "okay";
};

&clock {
	status = "okay";
};

/* The upstream repo (uAmpHome/micro_matter_button) targeted NCS v3.2.4, where
 * <nordic/nrf54l15_partition.dtsi> exists. On NCS v3.0 that file does not exist
 * yet - partitions are defined at board level. The table below is identical to
 * the one in zephyr/boards/nordic/nrf54l15dk/nrf54l15dk_nrf54l15_cpuapp.dts.
 */
&cpuapp_rram {
	partitions {
		compatible = "fixed-partitions";
		#address-cells = <1>;
		#size-cells = <1>;

		boot_partition: partition@0 {
			label = "mcuboot";
			reg = <0x0 DT_SIZE_K(64)>;
		};
		slot0_partition: partition@10000 {
			label = "image-0";
			reg = <0x10000 DT_SIZE_K(324)>;
		};
		slot0_ns_partition: partition@61000 {
			label = "image-0-nonsecure";
			reg = <0x61000 DT_SIZE_K(324)>;
		};
		slot1_partition: partition@b2000 {
			label = "image-1";
			reg = <0xb2000 DT_SIZE_K(324)>;
		};
		slot1_ns_partition: partition@103000 {
			label = "image-1-nonsecure";
			reg = <0x103000 DT_SIZE_K(324)>;
		};
		/* 32k from 0x154000 to 0x15bfff reserved for TF-M partitions */
		storage_partition: partition@15c000 {
			label = "storage";
			reg = <0x15c000 DT_SIZE_K(36)>;
		};
	};
};

/*
 * The RGB LED, driven with PWM. The gpio-leds nodes above stay for
 * dk_buttons_and_leds and for any code that only wants on/off, but the
 * application uses the PWM channels - see src/status_led.cpp.
 *
 * PWM_POLARITY_INVERTED because the LEDs are active-low: duty 0 = off. The
 * pwm_nrfx driver stops the peripheral when duty is 0 or 100% and parks the pin
 * in GPIO, so an LED that is off draws no current - which matters on battery.
 */
&pwm20 {
	status = "okay";
	pinctrl-0 = <&pwm20_default>;
	pinctrl-1 = <&pwm20_sleep>;
	pinctrl-names = "default", "sleep";
};

/ {
	pwmleds {
		compatible = "pwm-leds";

		pwm_led_red: pwm_led_0 {
			pwms = <&pwm20 0 PWM_MSEC(1) PWM_POLARITY_INVERTED>;
			label = "RGB red PWM";
		};

		pwm_led_green: pwm_led_1 {
			pwms = <&pwm20 1 PWM_MSEC(1) PWM_POLARITY_INVERTED>;
			label = "RGB green PWM";
		};

		pwm_led_blue: pwm_led_2 {
			pwms = <&pwm20 2 PWM_MSEC(1) PWM_POLARITY_INVERTED>;
			label = "RGB blue PWM";
		};
	};
};
```

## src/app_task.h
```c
/*
 * Copyright (c) 2022 Nordic Semiconductor ASA
 *
 * SPDX-License-Identifier: LicenseRef-Nordic-5-Clause
 */

#pragma once

#include "board/board.h"

#include <platform/CHIPDeviceLayer.h>

struct k_timer;
struct Identify;

class AppTask {
public:
	static AppTask &Instance()
	{
		static AppTask sAppTask;
		return sAppTask;
	};

	CHIP_ERROR StartApp();

	void UpdateClusterState();

	static void IdentifyStartHandler(Identify *);
	static void IdentifyStopHandler(Identify *);

private:
	enum Timer : uint8_t { DimmerTrigger, Dimmer, Debounce };

	CHIP_ERROR Init();

	static void DimmerTriggerEventHandler();
	static void TimerEventHandler(const Timer &event);
	static void ButtonEventHandler(Nrf::ButtonState state, Nrf::ButtonMask hasChanged);
	static void ButtonEdge(bool down);

	static void StartTimer(Timer, uint32_t);
	static void CancelTimer(Timer);
	static void UserTimerTimeoutCallback(k_timer *timer);
};
```

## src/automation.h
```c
#pragma once

#include <cstdint>

namespace Automation {

void Init(void);
void OnButtonPress(void);
void OnButtonLongPress(void);

/* Network state, as the indicator sees it. Set by the Matter event handler in
 * app_task.cpp. */
enum class NetState : uint8_t {
	Commissioning, /* window open, waiting to be added */
	Normal,        /* on the network, or at least not commissioning */
};

void SetNetState(NetState s);

/* Recomputes what the LED shows: the color and brightness of the level the
 * switch would apply right now, or fully dark if it is locked. Called when
 * something that matters changes (lock, role, schedule, time of day), not
 * periodically. */
void RefreshIndicator(void);

} /* namespace Automation */
```

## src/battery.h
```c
#pragma once

#include <cstdint>

/*
 * What is left in the cell, reported through Matter's PowerSource cluster.
 *
 * There is no divider on the board and none was added: the supply is bracketed
 * with the power-fail comparator, which costs a few register writes and nothing
 * at all when idle. The nRF54L's ADC cannot see VDD - see battery.cpp.
 */
namespace Battery {

/* Adds the PowerSource endpoint, then measures every hour starting half a
 * minute after boot. */
void Init(void);

/* The last reading, in millivolts, as a LOWER BOUND - 2700 means "at least
 * 2.7 V". -1 before the first reading, and also when the supply is under the
 * comparator's lowest step. */
int32_t LastMillivolts(void);

} /* namespace Battery */
```

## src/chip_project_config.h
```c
/*
 * Copyright (c) 2022 Nordic Semiconductor ASA
 *
 * SPDX-License-Identifier: LicenseRef-Nordic-5-Clause
 */

#pragma once

#define CHIP_CONFIG_CONTROLLER_MAX_ACTIVE_DEVICES 2

/* How many devices one switch can be bound to. Matter's default is 10, and a
 * LOCK is bound to every other switch in the house - so ten switches plus the
 * lock itself already filled the table and the eleventh could not be added at
 * all. The write simply had nowhere to go.
 *
 * Costs about one entry's worth of RAM each, and it also raises the pending
 * notification map, which is sized from the same number. */
#define MATTER_BINDING_TABLE_SIZE 16
/* Three dynamic endpoints: the lock's vendor cluster (src/lock_cluster.cpp),
 * the battery (src/battery.cpp) and the button itself (src/switch_cluster.cpp).
 * Without this, MAX_ENDPOINT_COUNT stays equal to the number of fixed endpoints
 * and emberAfSetDynamicEndpoint has nowhere to put them. */
#define CHIP_DEVICE_CONFIG_DYNAMIC_ENDPOINT_COUNT 3

/* The version the device reports, without the build-metadata tail.
 *
 * NCS binds SoftwareVersionString to APP_VERSION_EXTENDED_STRING, which is
 * "3.0.6+0" - major.minor.patch plus the VERSION file's tweak, appended even
 * when it is zero, which it always is here. Nothing reads that zero and every
 * screen showing a firmware version had to carry it.
 *
 * This is set as the CONFIG_ symbol rather than the CHIP_ one on purpose. This
 * header is included BEFORE the platform config (CHIPDeviceConfig.h, project at
 * line 41 and platform at 53), so defining the CHIP_ macro here would simply be
 * overwritten a few lines later. The platform config picks its value with
 *
 *     #ifdef CONFIG_CHIP_DEVICE_SOFTWARE_VERSION_STRING
 *
 * and that symbol does not otherwise exist: its Kconfig is declared inside
 * `if "$(APPVERSION)"==""`, so having a VERSION file removes it. Defining it
 * here fills the hole the SDK already checks for, and nothing is redefined.
 *
 * APP_VERSION_STRING is generated by Zephyr from the same VERSION file - so
 * this stays correct when the version changes, which a literal would not.
 */
#include "app_version.h"
#define CONFIG_CHIP_DEVICE_SOFTWARE_VERSION_STRING APP_VERSION_STRING
```

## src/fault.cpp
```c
/*
 * fault - the reason a switch fell over, kept across the restart.
 *
 * A fault restarts the switch, and on a coin cell every restart is a network
 * join, a new session with the hub and a full report. With no console nobody
 * ever saw why: the panel counted thousands of restarts on one switch and had
 * nothing to say about any of them. So the fatal error handler leaves the reason
 * and the address in RAM that survives a soft reset, and the next boot
 * publishes them.
 *
 * WHY .noinit IS SAFE HERE. MCUboot runs between the reset and us, and it keeps
 * to the bottom 22 KB of RAM (its datas/bss/noinit end at 0x200054f0) and does
 * not clear the rest (MCUBOOT_CLEANUP_RAM is off). Our .noinit starts at
 * 0x20020c80. After a power-on the bytes are noise, which is what the magic is
 * for.
 *
 * THE HANDLER REPLACES NCS's. CONFIG_RESET_ON_FATAL_ERROR provided one that only
 * reset; it is off in prj.conf, and this one writes the record and then resets
 * the same way.
 */
#include "fault.h"

#include <zephyr/arch/cpu.h>
#include <zephyr/fatal.h>
#include <zephyr/kernel.h>
#include <zephyr/linker/section_tags.h>

extern "C" void sys_arch_reboot(int type);

namespace {

constexpr uint32_t kMagic = 0x46415554; /* "FAUT" */

struct Record {
	uint32_t magic;
	Fault::Info info;
};

__noinit Record sRecord;
Fault::Info sLast = { Fault::kNone, 0, 0 };

} /* namespace */

extern "C" void k_sys_fatal_error_handler(unsigned int reason, const struct arch_esf *esf)
{
	sRecord.info = { reason, esf ? esf->basic.pc : 0, esf ? esf->basic.lr : 0 };
	sRecord.magic = kMagic;
	sys_arch_reboot(0);
	CODE_UNREACHABLE;
}

namespace Fault {

void Init(void)
{
	if (sRecord.magic == kMagic) {
		sLast = sRecord.info;
	}
	sRecord.magic = 0;
}

const Info &Last(void)
{
	return sLast;
}

} /* namespace Fault */
```

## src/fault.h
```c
/*
 * Why the last restart happened, when it was the firmware's own doing.
 *
 * Published on the vendor cluster (lock_cluster.cpp) as three attributes:
 *   0xFFF10004  FaultReason  (uint32)  Zephyr's K_ERR_*, or kNone
 *   0xFFF10005  FaultPc      (uint32)  where it happened
 *   0xFFF10006  FaultLr      (uint32)  what called it
 * The panel logs them with the restart. The addresses only mean something next
 * to the ELF of the same version: arm-zephyr-eabi-addr2line -fe zephyr.elf <pc>.
 */
#pragma once

#include <cstdint>

namespace Fault {

constexpr uint32_t kNone = 0xFFFFFFFF;

struct Info {
	uint32_t reason;
	uint32_t pc;
	uint32_t lr;
};

/* Takes over a record left by the fault handler, if the last restart was one.
 * Call first thing at boot. */
void Init(void);

const Info &Last(void);

} /* namespace Fault */
```
